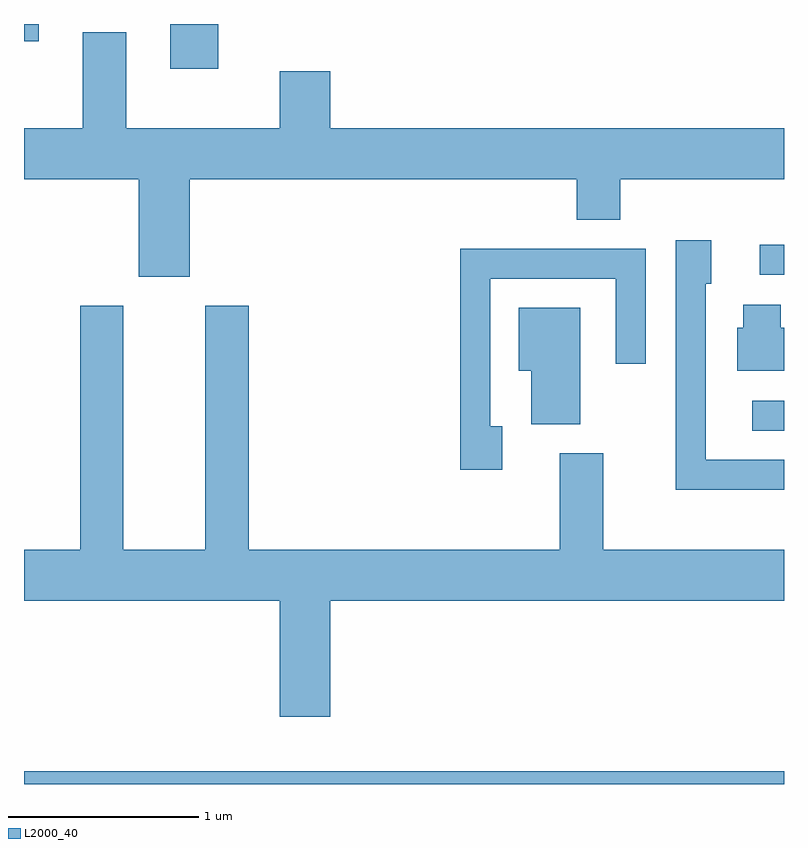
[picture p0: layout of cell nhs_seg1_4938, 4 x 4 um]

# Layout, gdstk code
import gdstk
lib = gdstk.Library(unit=1e-6, precision=1e-09)
def R(c, l, rs):  # rectangles x0, y0, x1, y1
    for r in rs: c.add(gdstk.rectangle(r[:2], r[2:], *l))
def P(c, l, *ps):  # polygons
    for p in ps: c.add(gdstk.Polygon(p, *l))
L2000_40 = (2000, 40)

nhs_seg1_4938 = lib.new_cell('nhs_seg1_4938')
R(nhs_seg1_4938, L2000_40, [(333.611,909.712,337.611,909.779), (337.443,911.571,337.611,911.729), (337.483,912.391,337.611,912.549), (334.381,913.476,334.634,913.712), (333.611,913.621,333.689,913.712)])
P(nhs_seg1_4938, L2000_40, [(334.484,912.896),(336.521,912.896),(336.521,912.681),(336.749,912.681),(336.749,912.896),(337.611,912.896),(337.611,913.164),(335.224,913.164),(335.224,913.464),(334.956,913.464),(334.956,913.164),(334.149,913.164),(334.149,913.669),(333.921,913.669),(333.921,913.164),(333.611,913.164),(333.611,912.896),(334.216,912.896),(334.216,912.381),(334.484,912.381)],
  [(337.611,911.419),(337.199,911.419),(337.199,912.346),(337.229,912.346),(337.229,912.574),(337.041,912.574),(337.041,911.261),(337.611,911.261)],
  [(336.129,911.594),(336.064,911.594),(336.064,912.371),(336.726,912.371),(336.726,911.923),(336.884,911.923),(336.884,912.529),(335.906,912.529),(335.906,911.366),(336.129,911.366)],
  [(337.611,912.114),(337.594,912.114),(337.594,912.234),(337.396,912.234),(337.396,912.114),(337.366,912.114),(337.366,911.886),(337.611,911.886)],
  [(335.224,910.676),(337.611,910.676),(337.611,910.944),(336.659,910.944),(336.659,911.454),(336.431,911.454),(336.431,910.944),(334.794,910.944),(334.794,912.229),(334.566,912.229),(334.566,910.944),(334.134,910.944),(334.134,912.229),(333.906,912.229),(333.906,910.944),(333.611,910.944),(333.611,910.676),(334.956,910.676),(334.956,910.066),(335.224,910.066)],
  [(336.539,912.219),(336.216,912.219),(336.216,911.886),(336.281,911.886),(336.281,911.606),(336.539,911.606)])

lib.write_gds('nhs_seg1_4938.gds')
